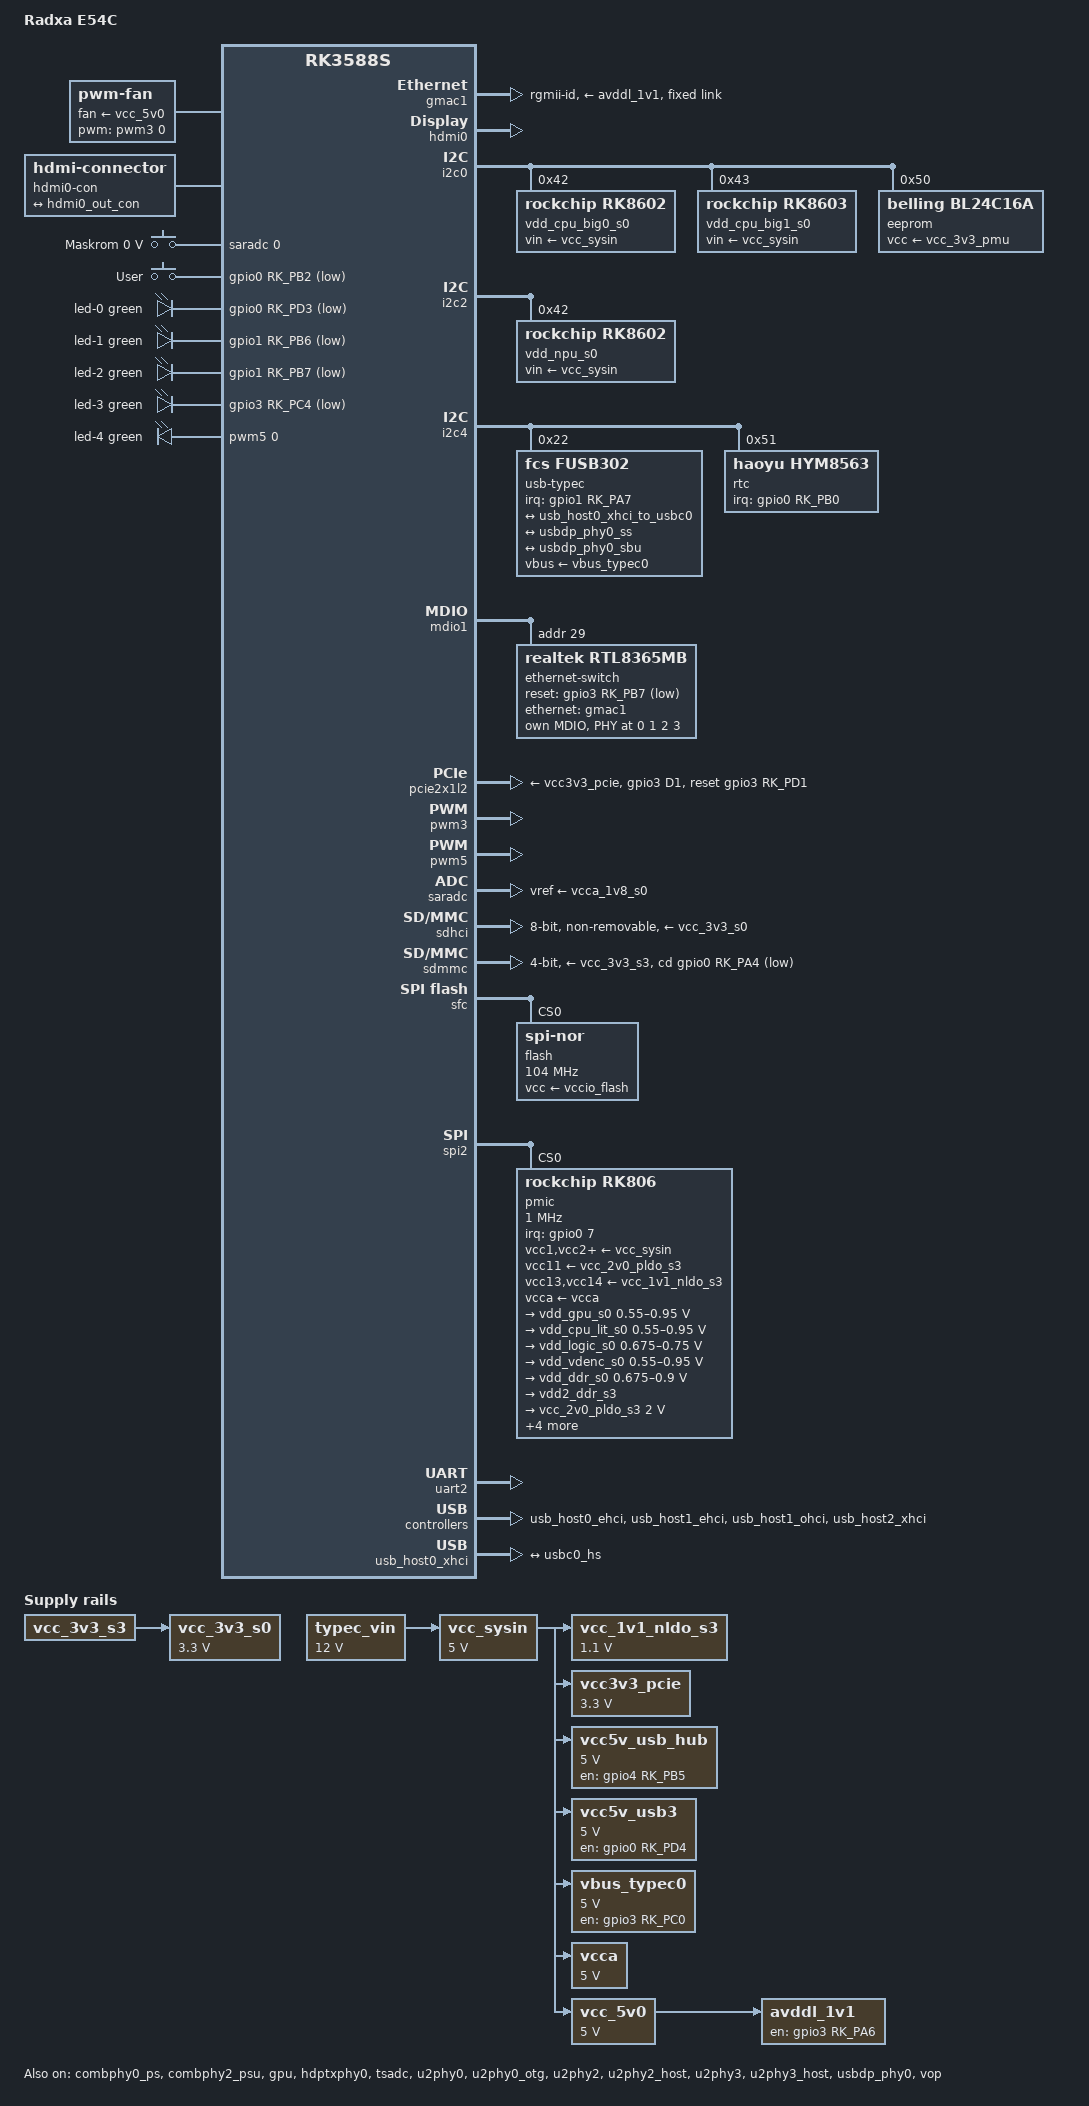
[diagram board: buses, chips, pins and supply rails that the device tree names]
// SPDX-License-Identifier: (GPL-2.0+ OR MIT)
/*
 * Copyright (c) 2024 Radxa Computer (Shenzhen) Co., Ltd.
 */

/dts-v1/;

#include <dt-bindings/gpio/gpio.h>
#include <dt-bindings/input/input.h>
#include <dt-bindings/leds/common.h>
#include <dt-bindings/pinctrl/rockchip.h>
#include <dt-bindings/pwm/pwm.h>
#include <dt-bindings/soc/rockchip,vop2.h>
#include <dt-bindings/usb/pd.h>
#include "rk3588s.dtsi"

/ {
	model = "Radxa E54C";
	compatible = "radxa,e54c", "rockchip,rk3582", "rockchip,rk3588s";

	aliases {
		ethernet0 = &gmac1;
		mmc0 = &sdhci;
		mmc1 = &sdmmc;
	};

	chosen {
		stdout-path = "serial2:1500000n8";
	};

	fan: fan {
		compatible = "pwm-fan";
		#cooling-cells = <2>;
		cooling-levels = <0 64 128 192 255>;
		fan-supply = <&vcc_5v0>;
		pwms = <&pwm3 0 10000 0>;
	};

	hdmi0-con {
		compatible = "hdmi-connector";
		type = "a";

		port {
			hdmi0_con_in: endpoint {
				remote-endpoint = <&hdmi0_out_con>;
			};
		};
	};

	keys-0 {
		compatible = "adc-keys";
		io-channels = <&saradc 0>;
		io-channel-names = "buttons";
		keyup-threshold-microvolt = <18000>;
		poll-interval = <100>;

		button-0 {
			label = "Maskrom";
			linux,code = <KEY_VENDOR>;
			press-threshold-microvolt = <0>;
		};
	};

	keys-1 {
		compatible = "gpio-keys";
		pinctrl-names = "default";
		pinctrl-0 = <&keys_1>;

		button-1 {
			label = "User";
			gpios = <&gpio0 RK_PB2 GPIO_ACTIVE_LOW>;
			linux,code = <BTN_0>;
			wakeup-source;
		};
	};

	leds-0 {
		compatible = "gpio-leds";
		pinctrl-names = "default";
		pinctrl-0 = <&leds_0>;

		led-0 {
			color = <LED_COLOR_ID_GREEN>;
			default-state = "off";
			function = LED_FUNCTION_LAN;
			function-enumerator = <1>;
			gpios = <&gpio0 RK_PD3 GPIO_ACTIVE_LOW>;
			linux,default-trigger = "netdev";
		};

		led-1 {
			color = <LED_COLOR_ID_GREEN>;
			default-state = "off";
			function = LED_FUNCTION_LAN;
			function-enumerator = <2>;
			gpios = <&gpio1 RK_PB6 GPIO_ACTIVE_LOW>;
			linux,default-trigger = "netdev";
		};

		led-2 {
			color = <LED_COLOR_ID_GREEN>;
			default-state = "off";
			function = LED_FUNCTION_LAN;
			function-enumerator = <3>;
			gpios = <&gpio1 RK_PB7 GPIO_ACTIVE_LOW>;
			linux,default-trigger = "netdev";
		};

		led-3 {
			color = <LED_COLOR_ID_GREEN>;
			default-state = "off";
			function = LED_FUNCTION_WAN;
			gpios = <&gpio3 RK_PC4 GPIO_ACTIVE_LOW>;
			linux,default-trigger = "netdev";
		};
	};

	leds-1 {
		compatible = "pwm-leds";

		led-4 {
			color = <LED_COLOR_ID_GREEN>;
			default-state = "on";
			function = LED_FUNCTION_STATUS;
			linux,default-trigger = "heartbeat";
			pwms = <&pwm5 0 1000000 0>;
			max-brightness = <255>;
		};
	};

	vcc_1v1_nldo_s3: regulator-1v1 {
		compatible = "regulator-fixed";
		regulator-name = "vcc_1v1_nldo_s3";
		regulator-always-on;
		regulator-boot-on;
		regulator-min-microvolt = <1100000>;
		regulator-max-microvolt = <1100000>;
		vin-supply = <&vcc_sysin>;
	};

	vcc3v3_pcie: regulator-3v3-0 {
		compatible = "regulator-fixed";
		regulator-name = "3v3_pcie";
		regulator-always-on;
		regulator-boot-on;
		regulator-min-microvolt = <3300000>;
		regulator-max-microvolt = <3300000>;
		vin-supply = <&vcc_sysin>;
	};

	vcc_3v3_s0: regulator-3v3-1 {
		compatible = "regulator-fixed";
		regulator-name = "vcc_3v3_s0";
		regulator-always-on;
		regulator-boot-on;
		regulator-min-microvolt = <3300000>;
		regulator-max-microvolt = <3300000>;
		vin-supply = <&vcc_3v3_s3>;
	};

	vcc5v_usb_hub: regulator-5v0-0 {
		compatible = "regulator-fixed";
		enable-active-high;
		gpio = <&gpio4 RK_PB5 GPIO_ACTIVE_HIGH>;
		pinctrl-names = "default";
		pinctrl-0 = <&usb_host_pwren_h>;
		regulator-name = "vcc5v_usb_hub";
		regulator-min-microvolt = <5000000>;
		regulator-max-microvolt = <5000000>;
		vin-supply = <&vcc_sysin>;
	};

	vcc5v_usb3: regulator-5v0-1 {
		compatible = "regulator-fixed";
		enable-active-high;
		gpio = <&gpio0 RK_PD4 GPIO_ACTIVE_HIGH>;
		pinctrl-names = "default";
		pinctrl-0 = <&usb_otg_pwren_h>;
		regulator-name = "vcc5v_usb3";
		regulator-min-microvolt = <5000000>;
		regulator-max-microvolt = <5000000>;
		vin-supply = <&vcc_sysin>;
	};

	vbus_typec0: regulator-5v0-2 {
		compatible = "regulator-fixed";
		enable-active-high;
		gpio = <&gpio3 RK_PC0 GPIO_ACTIVE_HIGH>;
		pinctrl-names = "default";
		pinctrl-0 = <&typec5v_pwren_h>;
		regulator-name = "vbus_typec0";
		regulator-min-microvolt = <5000000>;
		regulator-max-microvolt = <5000000>;
		vin-supply = <&vcc_sysin>;
	};

	vcca: regulator-5v0-3 {
		compatible = "regulator-fixed";
		regulator-name = "vcca";
		regulator-always-on;
		regulator-boot-on;
		regulator-min-microvolt = <5000000>;
		regulator-max-microvolt = <5000000>;
		vin-supply = <&vcc_sysin>;
	};

	vcc_5v0: regulator-5v0-4 {
		compatible = "regulator-fixed";
		regulator-name = "vcc_5v0";
		regulator-always-on;
		regulator-boot-on;
		regulator-min-microvolt = <5000000>;
		regulator-max-microvolt = <5000000>;
		vin-supply = <&vcc_sysin>;
	};

	vcc_sysin: regulator-5v0-5 {
		compatible = "regulator-fixed";
		regulator-name = "vcc_sysin";
		regulator-always-on;
		regulator-boot-on;
		regulator-min-microvolt = <5000000>;
		regulator-max-microvolt = <5000000>;
		vin-supply = <&typec_vin>;
	};

	typec_vin: regulator-12v0 {
		compatible = "regulator-fixed";
		regulator-name = "typec_vin";
		regulator-always-on;
		regulator-boot-on;
		regulator-min-microvolt = <12000000>;
		regulator-max-microvolt = <12000000>;
	};

	avddl_1v1: avddh_3v3: regulator-switch {
		compatible = "regulator-fixed";
		enable-active-high;
		gpio = <&gpio3 RK_PA6 GPIO_ACTIVE_HIGH>;
		pinctrl-names = "default";
		pinctrl-0 = <&rtl8367_en>;
		regulator-name = "switch";
		startup-delay-us = <10000>;
		vin-supply = <&vcc_5v0>;
	};
};

&combphy0_ps {
	status = "okay";
};

&combphy2_psu {
	status = "okay";
};

&cpu_b0 {
	cpu-supply = <&vdd_cpu_big0_s0>;
};

&cpu_b1 {
	cpu-supply = <&vdd_cpu_big0_s0>;
};

&cpu_b2 {
	cpu-supply = <&vdd_cpu_big1_s0>;
};

&cpu_b3 {
	cpu-supply = <&vdd_cpu_big1_s0>;
};

&cpu_l0 {
	cpu-supply = <&vdd_cpu_lit_s0>;
};

&cpu_l1 {
	cpu-supply = <&vdd_cpu_lit_s0>;
};

&cpu_l2 {
	cpu-supply = <&vdd_cpu_lit_s0>;
};

&cpu_l3 {
	cpu-supply = <&vdd_cpu_lit_s0>;
};

&gmac1 {
	/delete-property/ snps,tso;
	clock_in_out = "output";
	phy-mode = "rgmii-id";
	phy-supply = <&avddl_1v1>; // and &avddh_3v3
	pinctrl-names = "default";
	pinctrl-0 = <&gmac1_miim
		     &gmac1_tx_bus2
		     &gmac1_rx_bus2
		     &gmac1_rgmii_clk
		     &gmac1_rgmii_bus>;
	status = "okay";

	fixed-link {
		full-duplex;
		pause;
		speed = <1000>;
	};
};

&gpu {
	mali-supply = <&vdd_gpu_s0>;
	status = "okay";
};

&hdmi0 {
	pinctrl-names = "default";
	pinctrl-0 = <&hdmim0_tx0_cec
		     &hdmim1_tx0_hpd
		     &hdmim0_tx0_scl
		     &hdmim0_tx0_sda>;
	status = "okay";
};

&hdmi0_in {
	hdmi0_in_vp0: endpoint {
		remote-endpoint = <&vp0_out_hdmi0>;
	};
};

&hdmi0_out {
	hdmi0_out_con: endpoint {
		remote-endpoint = <&hdmi0_con_in>;
	};
};

&hdptxphy0 {
	status = "okay";
};

&i2c0 {
	pinctrl-names = "default";
	pinctrl-0 = <&i2c0m2_xfer>;
	status = "okay";

	vdd_cpu_big0_s0: regulator@42 {
		compatible = "rockchip,rk8602";
		reg = <0x42>;
		fcs,suspend-voltage-selector = <1>;
		regulator-name = "vdd_cpu_big0_s0";
		regulator-always-on;
		regulator-boot-on;
		regulator-min-microvolt = <550000>;
		regulator-max-microvolt = <1050000>;
		regulator-ramp-delay = <2300>;
		vin-supply = <&vcc_sysin>;

		regulator-state-mem {
			regulator-off-in-suspend;
		};
	};

	vdd_cpu_big1_s0: regulator@43 {
		compatible = "rockchip,rk8603", "rockchip,rk8602";
		reg = <0x43>;
		fcs,suspend-voltage-selector = <1>;
		regulator-name = "vdd_cpu_big1_s0";
		regulator-always-on;
		regulator-boot-on;
		regulator-min-microvolt = <550000>;
		regulator-max-microvolt = <1050000>;
		regulator-ramp-delay = <2300>;
		vin-supply = <&vcc_sysin>;

		regulator-state-mem {
			regulator-off-in-suspend;
		};
	};

	eeprom@50 {
		compatible = "belling,bl24c16a", "atmel,24c16";
		reg = <0x50>;
		pagesize = <16>;
		vcc-supply = <&vcc_3v3_pmu>;
	};
};

&i2c2 {
	status = "okay";

	vdd_npu_s0: regulator@42 {
		compatible = "rockchip,rk8602";
		reg = <0x42>;
		fcs,suspend-voltage-selector = <1>;
		regulator-name = "vdd_npu_s0";
		regulator-always-on;
		regulator-boot-on;
		regulator-min-microvolt = <550000>;
		regulator-max-microvolt = <950000>;
		regulator-ramp-delay = <2300>;
		vin-supply = <&vcc_sysin>;

		regulator-state-mem {
			regulator-off-in-suspend;
		};
	};
};

&i2c4 {
	pinctrl-names = "default";
	pinctrl-0 = <&i2c4m2_xfer>;
	status = "okay";

	usb-typec@22 {
		compatible = "fcs,fusb302";
		reg = <0x22>;
		interrupt-parent = <&gpio1>;
		interrupts = <RK_PA7 IRQ_TYPE_LEVEL_LOW>;
		pinctrl-names = "default";
		pinctrl-0 = <&cc_int_l>;
		vbus-supply = <&vbus_typec0>;
		status = "okay";

		connector {
			compatible = "usb-c-connector";
			data-role = "dual";
			label = "USB-C";
			/* fusb302 supports PD Rev 2.0 Ver 1.2 */
			pd-revision = /bits/ 8 <0x2 0x0 0x1 0x2>;
			power-role = "source";
			source-pdos =
				<PDO_FIXED(5000, 3000, PDO_FIXED_USB_COMM)>;

			ports {
				#address-cells = <1>;
				#size-cells = <0>;

				port@0 {
					reg = <0>;

					usbc0_hs: endpoint {
						remote-endpoint = <&usb_host0_xhci_to_usbc0>;
					};
				};

				port@1 {
					reg = <1>;

					usbc0_ss: endpoint {
						remote-endpoint = <&usbdp_phy0_ss>;
					};
				};

				port@2 {
					reg = <2>;

					usbc0_sbu: endpoint {
						remote-endpoint = <&usbdp_phy0_sbu>;
					};
				};
			};
		};
	};

	rtc@51 {
		compatible = "haoyu,hym8563";
		reg = <0x51>;
		#clock-cells = <0>;
		clock-output-names = "rtcic_32kout";
		interrupt-parent = <&gpio0>;
		interrupts = <RK_PB0 IRQ_TYPE_LEVEL_LOW>;
		pinctrl-names = "default";
		pinctrl-0 = <&rtc_int_l>;
		wakeup-source;
	};
};

&mdio1 {
	ethernet-switch@1d {
		compatible = "realtek,rtl8365mb";
		reg = <0x1d>;
		interrupt-parent = <&switch_intc>;
		pinctrl-names = "default";
		pinctrl-0 = <&gmac1_rstn_l>, <&rtl8367rb_eint>;
		reset-gpios = <&gpio3 RK_PB7 GPIO_ACTIVE_LOW>;

		ethernet-ports {
			#address-cells = <1>;
			#size-cells = <0>;

			ethernet-port@0 {
				reg = <0>;
				label = "wan";
				phy-handle = <&switchphy0>;
			};

			ethernet-port@1 {
				reg = <1>;
				label = "lan1";
				phy-handle = <&switchphy1>;
			};

			ethernet-port@2 {
				reg = <2>;
				label = "lan2";
				phy-handle = <&switchphy2>;
			};

			ethernet-port@3 {
				reg = <3>;
				label = "lan3";
				phy-handle = <&switchphy3>;
			};

			ethernet-port@6 {
				reg = <6>;
				ethernet = <&gmac1>;
				phy-mode = "rgmii";
				rx-internal-delay-ps = <2100>;
				tx-internal-delay-ps = <2000>;

				fixed-link {
					full-duplex;
					pause;
					speed = <1000>;
				};
			};
		};

		switch_intc: interrupt-controller {
			interrupt-parent = <&gpio1>;
			interrupts = <RK_PC2 IRQ_TYPE_LEVEL_LOW>;
			interrupt-controller;
			#address-cells = <0>;
			#interrupt-cells = <1>;
		};

		mdio {
			#address-cells = <1>;
			#size-cells = <0>;

			switchphy0: ethernet-phy@0 {
				reg = <0>;
				interrupts = <0>;
			};

			switchphy1: ethernet-phy@1 {
				reg = <1>;
				interrupts = <1>;
			};

			switchphy2: ethernet-phy@2 {
				reg = <2>;
				interrupts = <2>;
			};

			switchphy3: ethernet-phy@3 {
				reg = <3>;
				interrupts = <3>;
			};
		};
	};
};

&package_thermal {
	polling-delay = <1000>;

	trips {
		package_fan0: package-fan0 {
			temperature = <55000>;
			hysteresis = <2000>;
			type = "active";
		};

		package_fan1: package-fan1 {
			temperature = <65000>;
			hysteresis = <2000>;
			type = "active";
		};
	};

	cooling-maps {
		map0 {
			trip = <&package_fan0>;
			cooling-device = <&fan THERMAL_NO_LIMIT 1>;
		};

		map1 {
			trip = <&package_fan1>;
			cooling-device = <&fan 2 THERMAL_NO_LIMIT>;
		};
	};
};

&pcie2x1l2 {
	pinctrl-names = "default";
	pinctrl-0 = <&pcie20x1_2_perstn_m0>;
	reset-gpios = <&gpio3 RK_PD1 GPIO_ACTIVE_HIGH>;
	vpcie3v3-supply = <&vcc3v3_pcie>;
	status = "okay";
};

&pd_gpu {
	domain-supply = <&vdd_gpu_s0>;
};

&pinctrl {
	ethernet {
		gmac1_rstn_l: gmac1-rstn-l {
			rockchip,pins = <3 RK_PB7 RK_FUNC_GPIO &pcfg_pull_none>;
		};

		rtl8367_en: rtl8367-en {
			rockchip,pins = <3 RK_PA6 RK_FUNC_GPIO &pcfg_pull_none>;
		};

		rtl8367rb_eint: rtl8367rb-eint {
			rockchip,pins = <1 RK_PC2 RK_FUNC_GPIO &pcfg_pull_up>;
		};
	};

	keys {
		keys_1: keys-1 {
			rockchip,pins = <0 RK_PB2 RK_FUNC_GPIO &pcfg_pull_none>;
		};
	};

	leds {
		leds_0: leds-0 {
			rockchip,pins = <0 RK_PD3 RK_FUNC_GPIO &pcfg_pull_none>,
					<1 RK_PB6 RK_FUNC_GPIO &pcfg_pull_none>,
					<1 RK_PB7 RK_FUNC_GPIO &pcfg_pull_none>,
					<3 RK_PC4 RK_FUNC_GPIO &pcfg_pull_none>;
		};
	};

	pcie {
		pcie20x1_2_perstn_m0: pcie-0 {
			rockchip,pins = <3 RK_PD1 RK_FUNC_GPIO &pcfg_pull_none>;
		};
	};

	rtc {
		rtc_int_l: rtc-int-l {
			rockchip,pins = <0 RK_PB0 RK_FUNC_GPIO &pcfg_pull_none>;
		};
	};

	usb {
		usb_host_pwren_h: regulator-5v0-0 {
			rockchip,pins = <4 RK_PB5 RK_FUNC_GPIO &pcfg_pull_none>;
		};

		usb_otg_pwren_h: regulator-5v0-1 {
			rockchip,pins = <0 RK_PD4 RK_FUNC_GPIO &pcfg_pull_none>;
		};

		typec5v_pwren_h: regulator-5v0-2 {
			rockchip,pins = <3 RK_PC0 RK_FUNC_GPIO &pcfg_pull_none>;
		};

		cc_int_l: cc-int-l {
			rockchip,pins = <1 RK_PA7 RK_FUNC_GPIO &pcfg_pull_none>;
		};

		usbc_sbu_dc: usbc-sbu-dc {
			rockchip,pins = <1 RK_PA6 RK_FUNC_GPIO &pcfg_pull_none>,
					<3 RK_PD5 RK_FUNC_GPIO &pcfg_pull_none>;
		};
	};
};

&pwm3 {
	pinctrl-names = "default";
	pinctrl-0 = <&pwm3m1_pins>;
	status = "okay";
};

&pwm5 {
	pinctrl-names = "default";
	pinctrl-0 = <&pwm5m1_pins>;
	status = "okay";
};

&saradc {
	vref-supply = <&vcca_1v8_s0>;
	status = "okay";
};

&sdhci {
	bus-width = <8>;
	cap-mmc-highspeed;
	mmc-hs400-1_8v;
	mmc-hs400-enhanced-strobe;
	no-sd;
	no-sdio;
	non-removable;
	vmmc-supply = <&vcc_3v3_s0>;
	vqmmc-supply = <&vccio_flash>;
};

&sdmmc {
	bus-width = <4>;
	cap-mmc-highspeed;
	cap-sd-highspeed;
	cd-gpios = <&gpio0 RK_PA4 GPIO_ACTIVE_LOW>;
	disable-wp;
	no-sdio;
	sd-uhs-sdr104;
	vmmc-supply = <&vcc_3v3_s3>;
	vqmmc-supply = <&vccio_sd_s0>;
	status = "okay";
};

&sfc {
	pinctrl-names = "default";
	pinctrl-0 = <&fspim0_pins>;
	status = "okay";

	flash@0 {
		compatible = "jedec,spi-nor";
		reg = <0>;
		spi-max-frequency = <104000000>;
		spi-rx-bus-width = <4>;
		spi-tx-bus-width = <1>;
		vcc-supply = <&vccio_flash>;
	};
};

&spi2 {
	status = "okay";
	assigned-clocks = <&cru CLK_SPI2>;
	assigned-clock-rates = <200000000>;
	num-cs = <1>;
	pinctrl-names = "default";
	pinctrl-0 = <&spi2m2_cs0 &spi2m2_pins>;

	pmic@0 {
		compatible = "rockchip,rk806";
		reg = <0>;
		gpio-controller;
		#gpio-cells = <2>;
		interrupt-parent = <&gpio0>;
		interrupts = <7 IRQ_TYPE_LEVEL_LOW>;
		pinctrl-names = "default";
		pinctrl-0 = <&pmic_pins>, <&rk806_dvs1_null>,
			    <&rk806_dvs2_null>, <&rk806_dvs3_null>;
		spi-max-frequency = <1000000>;
		system-power-controller;

		vcc1-supply = <&vcc_sysin>;
		vcc2-supply = <&vcc_sysin>;
		vcc3-supply = <&vcc_sysin>;
		vcc4-supply = <&vcc_sysin>;
		vcc5-supply = <&vcc_sysin>;
		vcc6-supply = <&vcc_sysin>;
		vcc7-supply = <&vcc_sysin>;
		vcc8-supply = <&vcc_sysin>;
		vcc9-supply = <&vcc_sysin>;
		vcc10-supply = <&vcc_sysin>;
		vcc11-supply = <&vcc_2v0_pldo_s3>;
		vcc12-supply = <&vcc_sysin>;
		vcc13-supply = <&vcc_1v1_nldo_s3>;
		vcc14-supply = <&vcc_1v1_nldo_s3>;
		vcca-supply = <&vcca>;

		rk806_dvs1_null: dvs1-null-pins {
			pins = "gpio_pwrctrl1";
			function = "pin_fun0";
		};

		rk806_dvs2_null: dvs2-null-pins {
			pins = "gpio_pwrctrl2";
			function = "pin_fun0";
		};

		rk806_dvs3_null: dvs3-null-pins {
			pins = "gpio_pwrctrl3";
			function = "pin_fun0";
		};

		regulators {
			vdd_gpu_s0: dcdc-reg1 {
				regulator-name = "vdd_gpu_s0";
				regulator-boot-on;
				regulator-min-microvolt = <550000>;
				regulator-max-microvolt = <950000>;
				regulator-ramp-delay = <12500>;
				regulator-enable-ramp-delay = <400>;

				regulator-state-mem {
					regulator-off-in-suspend;
				};
			};

			vdd_cpu_lit_s0: dcdc-reg2 {
				regulator-name = "vdd_cpu_lit_s0";
				regulator-always-on;
				regulator-boot-on;
				regulator-min-microvolt = <550000>;
				regulator-max-microvolt = <950000>;
				regulator-ramp-delay = <12500>;

				regulator-state-mem {
					regulator-off-in-suspend;
				};
			};

			vdd_logic_s0: dcdc-reg3 {
				regulator-name = "vdd_logic_s0";
				regulator-always-on;
				regulator-boot-on;
				regulator-min-microvolt = <675000>;
				regulator-max-microvolt = <750000>;
				regulator-ramp-delay = <12500>;

				regulator-state-mem {
					regulator-on-in-suspend;
					regulator-suspend-microvolt = <750000>;
				};
			};

			vdd_vdenc_s0: dcdc-reg4 {
				regulator-name = "vdd_vdenc_s0";
				regulator-always-on;
				regulator-boot-on;
				regulator-min-microvolt = <550000>;
				regulator-max-microvolt = <950000>;
				regulator-ramp-delay = <12500>;

				regulator-state-mem {
					regulator-off-in-suspend;
				};
			};

			vdd_ddr_s0: dcdc-reg5 {
				regulator-name = "vdd_ddr_s0";
				regulator-always-on;
				regulator-boot-on;
				regulator-min-microvolt = <675000>;
				regulator-max-microvolt = <900000>;
				regulator-ramp-delay = <12500>;

				regulator-state-mem {
					regulator-off-in-suspend;
					regulator-suspend-microvolt = <850000>;
				};
			};

			vdd2_ddr_s3: dcdc-reg6 {
				regulator-name = "vdd2_ddr_s3";
				regulator-always-on;
				regulator-boot-on;

				regulator-state-mem {
					regulator-on-in-suspend;
				};
			};

			vcc_2v0_pldo_s3: dcdc-reg7 {
				regulator-name = "vcc_2v0_pldo_s3";
				regulator-always-on;
				regulator-boot-on;
				regulator-min-microvolt = <2000000>;
				regulator-max-microvolt = <2000000>;

				regulator-state-mem {
					regulator-on-in-suspend;
					regulator-suspend-microvolt = <2000000>;
				};
			};

			vcc_3v3_pmu: vcc_3v3_s3: dcdc-reg8 {
				regulator-name = "vcc_3v3_s3";
				regulator-always-on;
				regulator-boot-on;
				regulator-min-microvolt = <3300000>;
				regulator-max-microvolt = <3300000>;

				regulator-state-mem {
					regulator-on-in-suspend;
					regulator-suspend-microvolt = <3300000>;
				};
			};

			vddq_ddr_s0: dcdc-reg9 {
				regulator-name = "vddq_ddr_s0";
				regulator-always-on;
				regulator-boot-on;

				regulator-state-mem {
					regulator-off-in-suspend;
				};
			};

			vccio_flash: vcc_1v8_s3: dcdc-reg10 {
				regulator-name = "vcc_1v8_s3";
				regulator-always-on;
				regulator-boot-on;
				regulator-min-microvolt = <1800000>;
				regulator-max-microvolt = <1800000>;

				regulator-state-mem {
					regulator-on-in-suspend;
					regulator-suspend-microvolt = <1800000>;
				};
			};

			vcc_1v8_s0: pldo-reg1 {
				regulator-name = "vcc_1v8_s0";
				regulator-always-on;
				regulator-boot-on;
				regulator-min-microvolt = <1800000>;
				regulator-max-microvolt = <1800000>;

				regulator-state-mem {
					regulator-on-in-suspend;
					regulator-suspend-microvolt = <1800000>;
				};
			};

			vcca_1v8_s0: pldo-reg2 {
				regulator-name = "vcca_1v8_s0";
				regulator-always-on;
				regulator-boot-on;
				regulator-min-microvolt = <1800000>;
				regulator-max-microvolt = <1800000>;

				regulator-state-mem {
					regulator-on-in-suspend;
					regulator-suspend-microvolt = <1800000>;
				};
			};

			vdda_1v2_s0: pldo-reg3 {
				regulator-name = "vdda_1v2_s0";
				regulator-always-on;
				regulator-boot-on;
				regulator-min-microvolt = <1200000>;
				regulator-max-microvolt = <1200000>;

				regulator-state-mem {
					regulator-off-in-suspend;
				};
			};

			vcca_3v3_s0: pldo-reg4 {
				regulator-name = "vcca_3v3_s0";
				regulator-always-on;
				regulator-boot-on;
				regulator-min-microvolt = <3300000>;
				regulator-max-microvolt = <3300000>;

				regulator-state-mem {
					regulator-on-in-suspend;
					regulator-suspend-microvolt = <3300000>;
				};
			};

			vccio_sd_s0: pldo-reg5 {
				regulator-name = "vccio_sd_s0";
				regulator-always-on;
				regulator-boot-on;
				regulator-min-microvolt = <1800000>;
				regulator-max-microvolt = <3300000>;

				regulator-state-mem {
					regulator-off-in-suspend;
				};
			};

			pldo6_s3: pldo-reg6 {
				regulator-name = "pldo6_s3";
				regulator-always-on;
				regulator-boot-on;
				regulator-min-microvolt = <1800000>;
				regulator-max-microvolt = <1800000>;

				regulator-state-mem {
					regulator-on-in-suspend;
					regulator-suspend-microvolt = <1800000>;
				};
			};

			vdd_0v75_s3: nldo-reg1 {
				regulator-name = "vdd_0v75_s3";
				regulator-always-on;
				regulator-boot-on;
				regulator-min-microvolt = <750000>;
				regulator-max-microvolt = <750000>;

				regulator-state-mem {
					regulator-on-in-suspend;
					regulator-suspend-microvolt = <750000>;
				};
			};

			vdda_ddr_pll_s0: nldo-reg2 {
				regulator-name = "vdda_ddr_pll_s0";
				regulator-always-on;
				regulator-boot-on;
				regulator-min-microvolt = <850000>;
				regulator-max-microvolt = <850000>;

				regulator-state-mem {
					regulator-on-in-suspend;
					regulator-suspend-microvolt = <850000>;
				};
			};

			vdda_0v75_s0: nldo-reg3 {
				regulator-name = "vdda_0v75_s0";
				regulator-always-on;
				regulator-boot-on;
				regulator-min-microvolt = <750000>;
				regulator-max-microvolt = <750000>;

				regulator-state-mem {
					regulator-on-in-suspend;
					regulator-suspend-microvolt = <750000>;
				};
			};

			vdda_0v85_s0: nldo-reg4 {
				regulator-name = "vdda_0v85_s0";
				regulator-always-on;
				regulator-boot-on;
				regulator-min-microvolt = <850000>;
				regulator-max-microvolt = <850000>;

				regulator-state-mem {
					regulator-off-in-suspend;
				};
			};

			vdd_0v75_s0: nldo-reg5 {
				regulator-name = "vdd_0v75_s0";
				regulator-always-on;
				regulator-boot-on;
				regulator-min-microvolt = <750000>;
				regulator-max-microvolt = <750000>;

				regulator-state-mem {
					regulator-off-in-suspend;
				};
			};
		};
	};
};

&tsadc {
	rockchip,hw-tshut-mode = <1>; /* tshut mode 0:CRU 1:GPIO */
	rockchip,hw-tshut-polarity = <0>; /* tshut polarity 0:LOW 1:HIGH */
	status = "okay";
};

&u2phy0 {
	status = "okay";
};

&u2phy0_otg {
	phy-supply = <&vbus_typec0>;
	status = "okay";
};

&u2phy2 {
	status = "okay";
};

&u2phy2_host {
	/* connected to USB hub, which is powered by 5v_usb_hub */
	phy-supply = <&vcc5v_usb_hub>;
	status = "okay";
};

&u2phy3 {
	status = "okay";
};

&u2phy3_host {
	phy-supply = <&vcc5v_usb3>;
	status = "okay";
};

&uart2 {
	pinctrl-0 = <&uart2m0_xfer>;
	status = "okay";
};

&usb_host0_ehci {
	status = "okay";
};

&usb_host0_xhci {
	usb-role-switch;
	status = "okay";

	port {
		usb_host0_xhci_to_usbc0: endpoint {
			remote-endpoint = <&usbc0_hs>;
		};
	};
};

&usb_host1_ehci {
	status = "okay";
};

&usb_host1_ohci {
	status = "okay";
};

&usb_host2_xhci {
	status = "okay";
};

&usbdp_phy0 {
	mode-switch;
	orientation-switch;
	pinctrl-names = "default";
	pinctrl-0 = <&usbc_sbu_dc>;
	sbu1-dc-gpios = <&gpio1 RK_PA6 GPIO_ACTIVE_HIGH>;
	sbu2-dc-gpios = <&gpio3 RK_PD5 GPIO_ACTIVE_HIGH>;
	status = "okay";

	port {
		#address-cells = <1>;
		#size-cells = <0>;

		usbdp_phy0_ss: endpoint@0 {
			reg = <0>;
			remote-endpoint = <&usbc0_ss>;
		};

		usbdp_phy0_sbu: endpoint@1 {
			reg = <1>;
			remote-endpoint = <&usbc0_sbu>;
		};
	};
};

&vop {
	status = "okay";
};

&vop_mmu {
	status = "okay";
};

&vp0 {
	vp0_out_hdmi0: endpoint@ROCKCHIP_VOP2_EP_HDMI0 {
		reg = <ROCKCHIP_VOP2_EP_HDMI0>;
		remote-endpoint = <&hdmi0_in_vp0>;
	};
};
